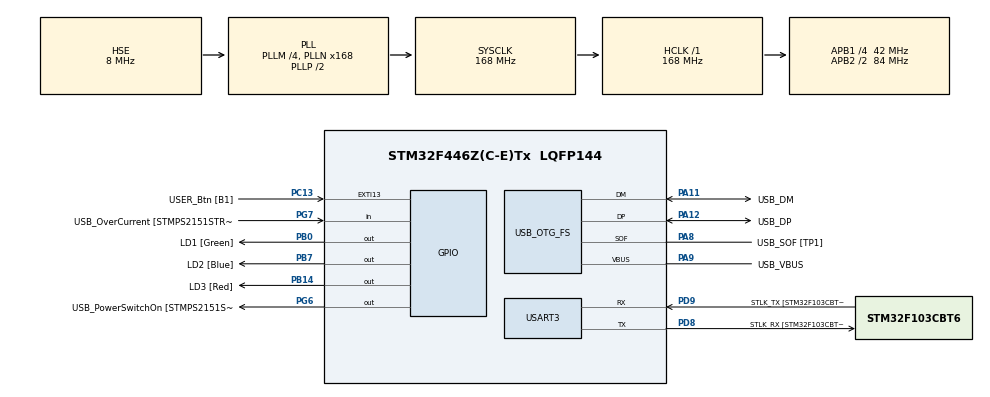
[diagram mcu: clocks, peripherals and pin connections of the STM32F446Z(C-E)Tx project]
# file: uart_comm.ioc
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Mcu.Family=STM32F4
Mcu.Name=STM32F446Z(C-E)Tx
Mcu.Package=LQFP144
NVIC.PriorityGroup=NVIC_PRIORITYGROUP_4
NVIC.USART3_IRQn=true\:0\:0\:false\:false\:true\:true\:true\:true
PA10.GPIO_Label=USB_ID
PA10.Signal=USB_OTG_FS_ID
PA11.GPIO_Label=USB_DM
PA11.Mode=Device_Only
PA11.Signal=USB_OTG_FS_DM
PA12.GPIO_Label=USB_DP
PA12.Mode=Device_Only
PA12.Signal=USB_OTG_FS_DP
PA13.GPIO_Label=TMS
PA13.Mode=Serial_Wire
PA13.Signal=SYS_JTMS-SWDIO
PA14.GPIO_Label=TCK
PA14.Mode=Serial_Wire
PA14.Signal=SYS_JTCK-SWCLK
PA8.GPIO_Label=USB_SOF [TP1]
PA8.Mode=Activate_SOF_FS
PA8.Signal=USB_OTG_FS_SOF
PA9.GPIO_Label=USB_VBUS
PA9.Mode=Activate_VBUS
PA9.Signal=USB_OTG_FS_VBUS
PB0.GPIO_Label=LD1 [Green]
PB0.Signal=GPIO_Output
PB14.GPIO_Label=LD3 [Red]
PB14.Signal=GPIO_Output
PB7.GPIO_Label=LD2 [Blue]
PB7.Signal=GPIO_Output
PC13.GPIO_Label=USER_Btn [B1]
PC13.Signal=GPXTI13
PC14-OSC32_IN.Mode=LSE-External-Oscillator
PC14-OSC32_IN.Signal=RCC_OSC32_IN
PC15-OSC32_OUT.Mode=LSE-External-Oscillator
PC15-OSC32_OUT.Signal=RCC_OSC32_OUT
PD8.GPIO_Label=STLK_RX [STM32F103CBT6_PA3]
PD8.Mode=Asynchronous
PD8.Signal=USART3_TX
PD9.GPIO_Label=STLK_TX [STM32F103CBT6_PA2]
PD9.Mode=Asynchronous
PD9.Signal=USART3_RX
PG6.GPIO_Label=USB_PowerSwitchOn [STMPS2151STR_EN]
PG6.Signal=GPIO_Output
PG7.GPIO_Label=USB_OverCurrent [STMPS2151STR_FAULT]
PG7.Signal=GPIO_Input
PH0-OSC_IN.GPIO_Label=MCO [STM32F103CBT6_PA8]
PH0-OSC_IN.Mode=HSE-External-Clock-Source
PH0-OSC_IN.Signal=RCC_OSC_IN
PH1-OSC_OUT.Mode=HSE-External-Clock-Source
PH1-OSC_OUT.Signal=RCC_OSC_OUT
ProjectManager.HeapSize=0x200
ProjectManager.StackSize=0x400
ProjectManager.TargetToolchain=STM32CubeIDE
RCC.48MHZClocksFreq_Value=24000000
RCC.AHBFreq_Value=168000000
RCC.APB1CLKDivider=RCC_HCLK_DIV4
RCC.APB1Freq_Value=42000000
RCC.APB1TimFreq_Value=84000000
RCC.APB2CLKDivider=RCC_HCLK_DIV2
RCC.APB2Freq_Value=84000000
RCC.APB2TimFreq_Value=168000000
RCC.CortexFreq_Value=168000000
RCC.HCLKFreq_Value=168000000
RCC.HSE_VALUE=8000000
RCC.HSI_VALUE=16000000
RCC.PLLM=4
RCC.PLLMUL=RCC_PLL_MUL9
RCC.PLLN=168
RCC.PLLQ=7
RCC.PRESCALERUSB=RCC_USBCLKSOURCE_PLL_DIV1_5
RCC.SYSCLKFreq_VALUE=168000000
RCC.SYSCLKSource=RCC_SYSCLKSOURCE_PLLCLK
RCC.SYSCLKSourceVirtual=RCC_SYSCLKSOURCE_PLLCLK
RCC.USBFreq_Value=48000000
RCC.VCOOutputFreq_Value=336000000
USART3.VirtualMode=VM_ASYNC
USB_OTG_FS.VirtualMode=Device_Only
board=NUCLEO-F446ZE

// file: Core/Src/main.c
/* USER CODE BEGIN Header */
/**
  ******************************************************************************
  * @file           : main.c
  * @brief          : Main program body
  ******************************************************************************
  * @attention
  *
  * Copyright (c) 2025 STMicroelectronics.
  * All rights reserved.
  *
  * This software is licensed under terms that can be found in the LICENSE file
  * in the root directory of this software component.
  * If no LICENSE file comes with this software, it is provided AS-IS.
  *
  ******************************************************************************
  */
/* USER CODE END Header */
#include "main.h"

UART_HandleTypeDef huart3;

PCD_HandleTypeDef hpcd_USB_OTG_FS;

/* USER CODE BEGIN PV */
uint8_t rx_idx = 0;
uint8_t rx_data[2];
uint8_t rx_buffer[100];   // Buffer for received data
uint8_t tx_buffer[100] = "UART trial 1\n\r";   // Buffer for transmitted data
uint8_t data_received = 0;  // Flag to indicate data reception

float rx_floats[3];  // Array to store received floats
uint8_t rx_data_arr[12];  // Buffer to store 3 floats (4 bytes each)

/* USER CODE END PV */

void SystemClock_Config(void);
static void MX_GPIO_Init(void);
static void MX_USB_OTG_FS_PCD_Init(void);
static void MX_USART3_UART_Init(void);

int main(void)
{

  /* MCU Configuration--------------------------------------------------------*/

  /* Reset of all peripherals, Initializes the Flash interface and the Systick. */
  HAL_Init();

  /* Configure the system clock */
  SystemClock_Config();

  /* Initialize all configured peripherals */
  MX_GPIO_Init();
  MX_USB_OTG_FS_PCD_Init();
  MX_USART3_UART_Init();
  /* USER CODE BEGIN 2 */
  HAL_UART_Receive_IT(&huart3, rx_data_arr, sizeof(rx_data_arr));

  /* USER CODE END 2 */

  /* Infinite loop */
  /* USER CODE BEGIN WHILE */
  while (1)
  {

//    /* USER CODE END WHILE */
//
//    /* USER CODE BEGIN 3 */

  }
  /* USER CODE END 3 */
}

void SystemClock_Config(void)
{
  RCC_OscInitTypeDef RCC_OscInitStruct = {0};
  RCC_ClkInitTypeDef RCC_ClkInitStruct = {0};

  /** Configure the main internal regulator output voltage
  */
  __HAL_RCC_PWR_CLK_ENABLE();
  __HAL_PWR_VOLTAGESCALING_CONFIG(PWR_REGULATOR_VOLTAGE_SCALE1);

  /** Initializes the RCC Oscillators according to the specified parameters
  * in the RCC_OscInitTypeDef structure.
  */
  RCC_OscInitStruct.OscillatorType = RCC_OSCILLATORTYPE_HSE;
  RCC_OscInitStruct.HSEState = RCC_HSE_BYPASS;
  RCC_OscInitStruct.PLL.PLLState = RCC_PLL_ON;
  RCC_OscInitStruct.PLL.PLLSource = RCC_PLLSOURCE_HSE;
  RCC_OscInitStruct.PLL.PLLM = 4;
  RCC_OscInitStruct.PLL.PLLN = 168;
  RCC_OscInitStruct.PLL.PLLP = RCC_PLLP_DIV2;
  RCC_OscInitStruct.PLL.PLLQ = 7;
  RCC_OscInitStruct.PLL.PLLR = 2;
  if (HAL_RCC_OscConfig(&RCC_OscInitStruct) != HAL_OK)
  {
    Error_Handler();
  }

  /** Initializes the CPU, AHB and APB buses clocks
  */
  RCC_ClkInitStruct.ClockType = RCC_CLOCKTYPE_HCLK|RCC_CLOCKTYPE_SYSCLK
                              |RCC_CLOCKTYPE_PCLK1|RCC_CLOCKTYPE_PCLK2;
  RCC_ClkInitStruct.SYSCLKSource = RCC_SYSCLKSOURCE_PLLCLK;
  RCC_ClkInitStruct.AHBCLKDivider = RCC_SYSCLK_DIV1;
  RCC_ClkInitStruct.APB1CLKDivider = RCC_HCLK_DIV4;
  RCC_ClkInitStruct.APB2CLKDivider = RCC_HCLK_DIV2;

  if (HAL_RCC_ClockConfig(&RCC_ClkInitStruct, FLASH_LATENCY_5) != HAL_OK)
  {
    Error_Handler();
  }
}

static void MX_USART3_UART_Init(void)
{

  huart3.Instance = USART3;
  huart3.Init.BaudRate = 115200;
  huart3.Init.WordLength = UART_WORDLENGTH_8B;
  huart3.Init.StopBits = UART_STOPBITS_1;
  huart3.Init.Parity = UART_PARITY_NONE;
  huart3.Init.Mode = UART_MODE_TX_RX;
  huart3.Init.HwFlowCtl = UART_HWCONTROL_NONE;
  huart3.Init.OverSampling = UART_OVERSAMPLING_16;
  if (HAL_UART_Init(&huart3) != HAL_OK)
  {
    Error_Handler();
  }
  /* USER CODE BEGIN USART3_Init 2 */
  __HAL_UART_ENABLE_IT(&huart3, UART_IT_RXNE);

  /* USER CODE END USART3_Init 2 */

}

static void MX_USB_OTG_FS_PCD_Init(void)
{

  hpcd_USB_OTG_FS.Instance = USB_OTG_FS;
  hpcd_USB_OTG_FS.Init.dev_endpoints = 6;
  hpcd_USB_OTG_FS.Init.speed = PCD_SPEED_FULL;
  hpcd_USB_OTG_FS.Init.dma_enable = DISABLE;
  hpcd_USB_OTG_FS.Init.phy_itface = PCD_PHY_EMBEDDED;
  hpcd_USB_OTG_FS.Init.Sof_enable = ENABLE;
  hpcd_USB_OTG_FS.Init.low_power_enable = DISABLE;
  hpcd_USB_OTG_FS.Init.lpm_enable = DISABLE;
  hpcd_USB_OTG_FS.Init.vbus_sensing_enable = ENABLE;
  hpcd_USB_OTG_FS.Init.use_dedicated_ep1 = DISABLE;
  if (HAL_PCD_Init(&hpcd_USB_OTG_FS) != HAL_OK)
  {
    Error_Handler();
  }

}

static void MX_GPIO_Init(void)
{
  GPIO_InitTypeDef GPIO_InitStruct = {0};

  /* GPIO Ports Clock Enable */
  __HAL_RCC_GPIOC_CLK_ENABLE();
  __HAL_RCC_GPIOH_CLK_ENABLE();
  __HAL_RCC_GPIOB_CLK_ENABLE();
  __HAL_RCC_GPIOD_CLK_ENABLE();
  __HAL_RCC_GPIOG_CLK_ENABLE();
  __HAL_RCC_GPIOA_CLK_ENABLE();

  /*Configure GPIO pin Output Level */
  HAL_GPIO_WritePin(GPIOB, LD1_Pin|LD3_Pin|LD2_Pin, GPIO_PIN_RESET);

  /*Configure GPIO pin Output Level */
  HAL_GPIO_WritePin(USB_PowerSwitchOn_GPIO_Port, USB_PowerSwitchOn_Pin, GPIO_PIN_RESET);

  /*Configure GPIO pin : USER_Btn_Pin */
  GPIO_InitStruct.Pin = USER_Btn_Pin;
  GPIO_InitStruct.Mode = GPIO_MODE_IT_RISING;
  GPIO_InitStruct.Pull = GPIO_NOPULL;
  HAL_GPIO_Init(USER_Btn_GPIO_Port, &GPIO_InitStruct);

  /*Configure GPIO pins : LD1_Pin LD3_Pin LD2_Pin */
  GPIO_InitStruct.Pin = LD1_Pin|LD3_Pin|LD2_Pin;
  GPIO_InitStruct.Mode = GPIO_MODE_OUTPUT_PP;
  GPIO_InitStruct.Pull = GPIO_NOPULL;
  GPIO_InitStruct.Speed = GPIO_SPEED_FREQ_LOW;
  HAL_GPIO_Init(GPIOB, &GPIO_InitStruct);

  /*Configure GPIO pin : USB_PowerSwitchOn_Pin */
  GPIO_InitStruct.Pin = USB_PowerSwitchOn_Pin;
  GPIO_InitStruct.Mode = GPIO_MODE_OUTPUT_PP;
  GPIO_InitStruct.Pull = GPIO_NOPULL;
  GPIO_InitStruct.Speed = GPIO_SPEED_FREQ_LOW;
  HAL_GPIO_Init(USB_PowerSwitchOn_GPIO_Port, &GPIO_InitStruct);

  /*Configure GPIO pin : USB_OverCurrent_Pin */
  GPIO_InitStruct.Pin = USB_OverCurrent_Pin;
  GPIO_InitStruct.Mode = GPIO_MODE_INPUT;
  GPIO_InitStruct.Pull = GPIO_NOPULL;
  HAL_GPIO_Init(USB_OverCurrent_GPIO_Port, &GPIO_InitStruct);

}

/* USER CODE BEGIN 4 */

void led_ex(void)
{
	if(rx_idx == 0){
			  for(int i = 0; i < 100; i++){
				  rx_buffer[i] = 0;
				  HAL_GPIO_WritePin(LD1_GPIO_Port, LD1_Pin, GPIO_PIN_RESET);
			  }
		  }
		  if(rx_data[0] != 13){ // if data != \r --> store the recieved byte in rx_buffer
			  rx_buffer[rx_idx++] = rx_data[0];
		  } else{
			  rx_idx = 0;
			  data_received = 1;
			  HAL_UART_Transmit(&huart3, "\n\r", 2, HAL_MAX_DELAY);
			  if(strcmp(rx_buffer, "LED ON") == 0){
				  HAL_GPIO_WritePin(LD1_GPIO_Port, LD1_Pin, GPIO_PIN_SET);
			  }

		  }

		  HAL_UART_Transmit(&huart3, rx_data, strlen(rx_data), HAL_MAX_DELAY);

}

void send_floats(void)
{

	 uint8_t byte_array[12];  // Buffer to send 3 floats (4 bytes each)

	 memcpy(byte_array, rx_data_arr, sizeof(byte_array));

    HAL_UART_Transmit(&huart3, byte_array, sizeof(byte_array), HAL_MAX_DELAY);
}

void HAL_UART_RxCpltCallback(UART_HandleTypeDef *huart)
{
  /* Prevent unused argument(s) compilation warning */
  UNUSED(huart);
  /* NOTE: This function should not be modified, when the callback is needed,
           the HAL_UART_RxCpltCallback could be implemented in the user file
   */

  if(huart->Instance == USART3){
	  HAL_GPIO_TogglePin(LD2_GPIO_Port, LD2_Pin); // toggle LED for debug

	  //led_ex();
	  send_floats();

	  HAL_UART_Receive_IT(&huart3, rx_data_arr, sizeof(rx_data_arr));

  }
}

/* USER CODE END 4 */

void Error_Handler(void)
{
  __disable_irq();
  while (1)
  {
  }
}
